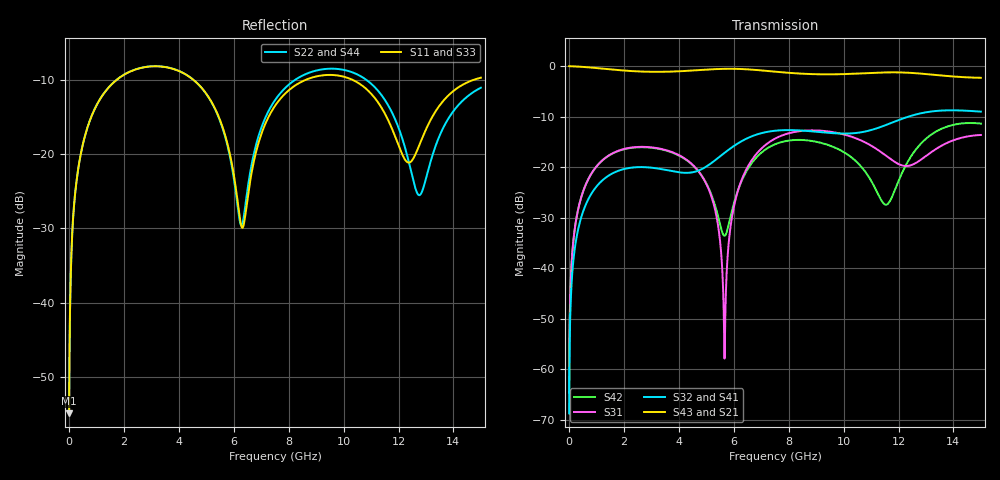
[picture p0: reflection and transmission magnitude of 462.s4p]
! Created with skrf 1.8.0 (http://scikit-rf.org).
# GHz S RI R 50.0
!freq ReS11 ImS11 ReS12 ImS12 ReS13 ImS13
! ReS14 ImS14
! ReS21 ImS21 ReS22 ImS22 ReS23 ImS23
! ReS24 ImS24
! ReS31 ImS31 ReS32 ImS32 ReS33 ImS33
! ReS34 ImS34
! ReS41 ImS41 ReS42 ImS42 ReS43 ImS43
! ReS44 ImS44
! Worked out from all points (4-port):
!   2499 points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, 5 MHz to 15 GHz, reference 50 ohm
!   strongest paths, dB at 5 MHz, 3.476 GHz, 7.19 GHz, 11.1 GHz, 15 GHz:
!     S43: 0.0, -1.1, -0.9, -1.3, -2.3
!     S21: 0.0, -1.1, -0.9, -1.3, -2.3
!     S32: -68.7, -20.5, -13.0, -12.5, -9.0
!     S41: -68.7, -20.5, -13.0, -12.5, -9.0
!     S31: -64.7, -16.5, -15.4, -16.0, -13.6
!     S42: -64.7, -16.6, -16.4, -23.6, -11.4
!   lowest |S11| = -54.9 dB at 5 MHz (marker M1), VSWR 1.00, Z = 50.1 + j0.109 ohm
!   |S11| at or under -10 dB: start of sweep to 1.72 GHz; 4.548 GHz to 8.588 GHz (4.04 GHz wide, 61.5 % of centre); 10.35 GHz to 14.7 GHz (4.342 GHz wide, 34.7 % of centre)
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0.005  0.00143 0.00108  0.9985 -0.00278  7.16e-05 0.00058  -6.95e-05 -0.000361
       0.9985 -0.00278  0.00143 0.00108  -6.95e-05 -0.000361  7.16e-05 0.00058
       7.16e-05 0.00058  -6.95e-05 -0.000361  0.00143 0.00108  0.9985 -0.00278
       -6.95e-05 -0.000361  7.16e-05 0.00058  0.9985 -0.00278  0.00143 0.00108
0.3126303  0.0191 0.0721  0.9741 -0.1739  0.0088 0.0349  -0.00725 -0.0216
           0.9741 -0.1739  0.0191 0.0721  -0.00726 -0.0216  0.00865 0.0349
           0.0088 0.0349  -0.00726 -0.0216  0.0191 0.0721  0.9741 -0.1739
           -0.00725 -0.0216  0.00865 0.0349  0.9741 -0.1739  0.0191 0.0721
1.569404  0.2311 0.1891  0.6281 -0.6789  0.1164 0.0713  -0.0843 -0.019
          0.6281 -0.6789  0.2318 0.1888  -0.0844 -0.0189  0.1142 0.0736
          0.1164 0.0713  -0.0844 -0.0189  0.231 0.1891  0.6282 -0.6789
          -0.0843 -0.019  0.1142 0.0736  0.6282 -0.6789  0.2317 0.1887
4.745727  0.225 -0.1864  -0.5887 -0.6983  0.0533 -0.0714  -0.0488 0.0792
          -0.5887 -0.6983  0.2237 -0.1875  -0.0483 0.0798  0.0505 -0.073
          0.0533 -0.0714  -0.0483 0.0798  0.2244 -0.1849  -0.5891 -0.6986
          -0.0488 0.0792  0.0505 -0.073  -0.5891 -0.6986  0.2222 -0.1872
5.66486  0.0687 -0.1205  -0.8663 -0.3639  -0.00126 -0.00024  -0.0503 0.1292
         -0.8663 -0.3639  0.0675 -0.118  -0.0492 0.1297  -0.0201 -0.00611
         -0.00126 -0.00024  -0.0492 0.1297  0.0691 -0.1183  -0.8667 -0.3637
         -0.0503 0.1292  -0.0201 -0.00611  -0.8667 -0.3637  0.0655 -0.1167
7.309296  0.1259 0.1357  -0.7979 0.3969  0.1469 0.1008  0.1323 0.1831
          -0.7979 0.3969  0.1413 0.1453  0.1337 0.1821  0.0893 0.1314
          0.1469 0.1008  0.1337 0.1821  0.1282 0.1365  -0.7977 0.3966
          0.1323 0.1831  0.0893 0.1314  -0.7977 0.3966  0.1406 0.1483
15  0.3245 0.0532  0.4299 -0.6331  0.2075 0.0189  -0.3315 -0.1249
    0.4299 -0.6331  0.2703 0.0779  -0.3338 -0.1195  0.2693 -0.0176
    0.2075 0.0189  -0.3338 -0.1195  0.3232 0.0511  0.4352 -0.6303
    -0.3315 -0.1249  0.2693 -0.0176  0.4352 -0.6303  0.2677 0.0825
